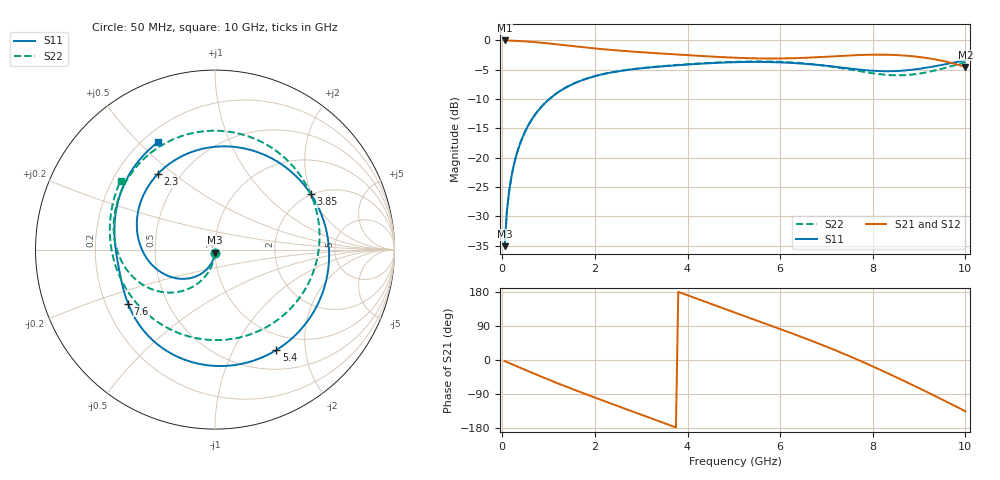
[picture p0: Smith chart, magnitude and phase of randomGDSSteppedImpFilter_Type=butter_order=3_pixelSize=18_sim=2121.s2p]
! freq	dB(S11)	phase(S11)	dB(S12)	phase(S12)
!  dB(S21)	phase(S21)	dB(S22)	phase(S22)
!S-par simulation data
#  GHz  S  DB  R 50
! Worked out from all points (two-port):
!   200 points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, 50 MHz to 10 GHz, reference 50 ohm
!   highest |S21| = 0.00 dB at 50 MHz (marker M1); lowest = -4.5 dB at 10 GHz (marker M2)
!   |S21| within 3 dB of the highest: start of sweep to 5.215 GHz; 6.393 GHz to 9.172 GHz (2.779 GHz wide, 35.7 % of centre)
!   lowest |S11| = -35.1 dB at 50 MHz (marker M3), VSWR 1.04, Z = 49.9 - j1.75 ohm
!   |S11| at or under -10 dB: start of sweep to 1.016 GHz
!   |S22| runs from -35.1 to -3.6 dB; largest |S21 - S12| = 0
!   S11 on the Smith chart (normalised r, x): 50 MHz: 1.00, -0.04; 2.3 GHz: 0.38, +0.44; 3.85 GHz: 1.98, +1.98; 5.4 GHz: 0.77, -1.50; 7.6 GHz: 0.29, -0.26; 10 GHz: 0.26, +0.57
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0.05  -35.10 -93.2  -0.00 -2.7  -0.00 -2.7  -35.09 -92.1
0.1  -29.10 -96.6  -0.01 -5.4  -0.01 -5.4  -29.09 -94.4
0.2  -23.13 -103.3  -0.04 -10.7  -0.04 -10.7  -23.12 -98.8
0.5  -15.44 -122.5  -0.16 -26.4  -0.16 -26.4  -15.41 -111.4
1.1  -9.45 -159.9  -0.60 -56.7  -0.60 -56.7  -9.44 -134.8
1.75  -6.71 160.6  -1.16 -87.7  -1.16 -87.7  -6.69 -157.3
2.3  -5.54 127.1  -1.58 -112.8  -1.58 -112.8  -5.53 -174.1
2.85  -4.88 93.1  -1.93 -137.5  -1.93 -137.5  -4.86 170.6
3.4  -4.46 58.4  -2.22 -162.2  -2.22 -162.2  -4.41 156.2
3.85  -4.19 30.1  -2.44 177.5  -2.44 177.5  -4.13 144.2
4.45  -3.90 -6.4  -2.72 150.6  -2.72 150.6  -3.83 127.4
5.05  -3.71 -40.3  -2.96 124.0  -2.96 124.0  -3.63 108.7
5.4  -3.67 -58.5  -3.04 108.5  -3.04 108.5  -3.58 96.5
6.05  -3.76 -89.3  -3.07 79.6  -3.07 79.6  -3.66 70.6
6.7  -4.10 -116.3  -2.90 49.6  -2.90 49.6  -4.05 39.2
7.2  -4.51 -134.9  -2.69 25.3  -2.69 25.3  -4.57 10.0
7.6  -4.88 -148.2  -2.53 4.7  -2.53 4.7  -5.09 -17.2
8.35  -5.26 -170.4  -2.45 -36.5  -2.45 -36.5  -5.90 -78.3
8.75  -5.08 177.1  -2.62 -59.6  -2.62 -59.6  -5.89 -114.3
9.15  -4.66 162.1  -2.98 -83.3  -2.98 -83.3  -5.46 -149.7
9.6  -4.01 141.1  -3.65 -110.4  -3.65 -110.4  -4.61 173.5
10  -3.38 117.8  -4.54 -135.4  -4.54 -135.4  -3.72 143.9
